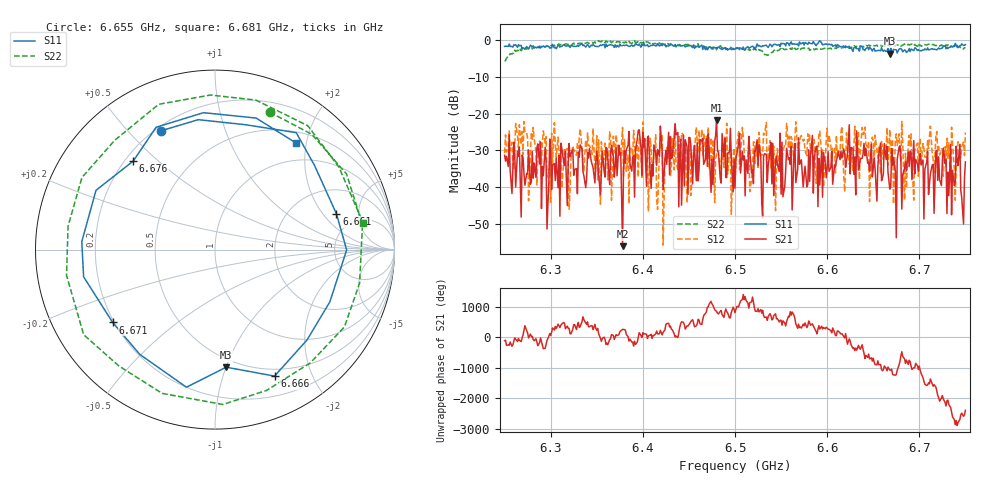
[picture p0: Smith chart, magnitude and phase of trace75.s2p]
# Hz S RI R 50
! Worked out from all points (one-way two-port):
!   401 points, 6.25 GHz to 6.75 GHz, reference 50 ohm
!   highest |S21| = -21.79 dB at 6.48 GHz (marker M1); lowest = -56.2 dB at 6.378 GHz (marker M2)
!   lowest |S11| = -3.6 dB at 6.668 GHz (marker M3), VSWR 4.85, Z = 21.7 - j50 ohm
!   |S11| at or under -10 dB: nowhere
!   |S22| runs from -5.7 to -0.1 dB; largest |S21 - S12| = 0.11
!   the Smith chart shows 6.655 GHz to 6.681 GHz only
!   S11 on the Smith chart (normalised r, x): 6.655 GHz: 0.22, +0.62; 6.661 GHz: 3.49, +2.76; 6.666 GHz: 0.42, -1.49; 6.671 GHz: 0.19, -0.31; 6.676 GHz: 0.23, +0.42; 6.681 GHz: 0.68, +1.82
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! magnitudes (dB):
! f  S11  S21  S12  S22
! 6.25 GHz  -1.7  -31.4  -30.8  -5.7
! 6.298 GHz  -1.7  -38.6  -35.6  -1.7
! 6.306 GHz  -2.3  -32.1  -31.9  -1.3
! 6.32 GHz  -1.5  -28.2  -46.1  -1.2
! 6.334 GHz  -0.9  -29.7  -29.4  -0.8
! 6.378 GHz  -1.5  -56.2  -23.8  -0.5
! 6.418 GHz  -1.6  -31.7  -30.0  -0.8
! 6.441 GHz  -1.5  -27.0  -34.5  -1.6
! 6.45 GHz  -1.5  -26.5  -35.2  -1.3
! 6.459 GHz  -1.8  -27.9  -27.6  -1.2
! 6.48 GHz  -2.3  -21.8  -31.2  -2.6
! 6.5 GHz  -2.4  -40.4  -37.9  -2.0
! 6.584 GHz  -0.9  -26.0  -28.7  -2.6
! 6.655 GHz  -2.8  -34.4  -32.1  -1.7
! 6.661 GHz  -3.0  -36.5  -32.5  -1.5
! 6.666 GHz  -2.2  -36.0  -34.1  -1.4
! 6.668 GHz  -3.6  -40.6  -24.4  -1.5
! 6.671 GHz  -3.1  -34.1  -27.2  -1.6
! 6.676 GHz  -3.5  -32.5  -28.7  -1.3
! 6.681 GHz  -2.5  -46.1  -22.2  -1.5
! 6.74 GHz  -1.6  -28.9  -34.7  -1.8
! 6.75 GHz  -1.2  -33.2  -25.2  -2.1
